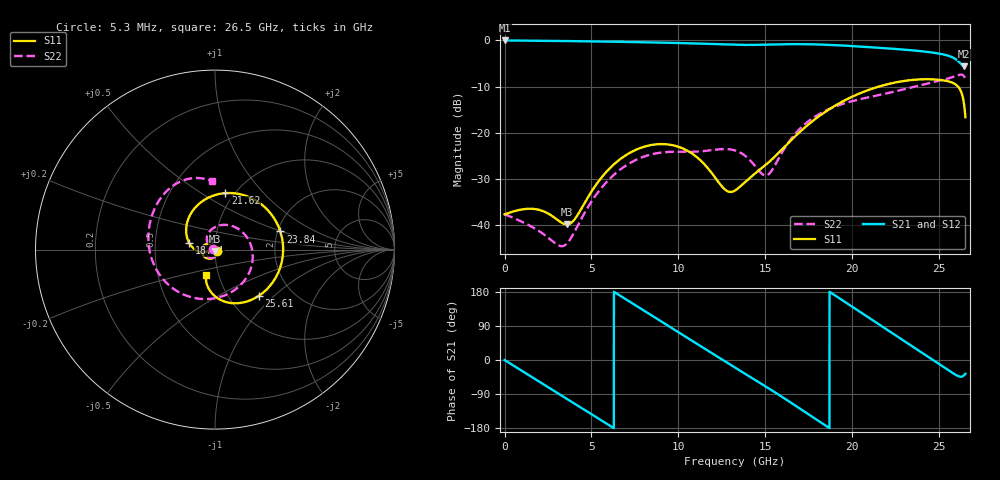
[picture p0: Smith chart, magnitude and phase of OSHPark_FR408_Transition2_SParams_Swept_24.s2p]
! TOUCHSTONE file generated by CST MICROWAVE STUDIO
! Date and time: Tue Jan  7 09:43:38 2020
! Project name: OSHPark_FR408_Transition2.cst
! Parameters = {GND_Plane_XMax=12; Cap_Disk_XOffset=0; Cap_Disk2_YCenter=-1.03; Cap_Disk_YCenter=1.03; Cap_Disk_XCenter=7.39; Cap_Disk_Radius=0.5; BottomSupport_Left_YMax=4.76; BottomSupport_Left_YMin=3.74; BottomSupport_Right_YMax=-3.74; BottomSupport_Right_YMin=-4.76; BottomSupport_XMax=11.64; Bot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
! Header version: 2015
! Port assignment regex: !\s*Touchstone port\s*([0-9]+)\s*=\s*CST MWS port\s*([0-9]+)\s*\(\"(.*)\"\)(\s*mode\s*([0-9]+))?.*
! Touchstone port assignment:
! Touchstone port 1 = CST MWS port 1 ("")
! Touchstone port 2 = CST MWS port 2 ("")
# GHz S MA R 50
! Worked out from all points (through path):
!   5000 points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, 5.3 MHz to 26.5 GHz, reference 50 ohm
!   highest |S21| = 0.00 dB at 10.6 MHz (marker M1); lowest = -5.6 dB at 26.42 GHz (marker M2)
!   group delay of S21, straight-line fit = 81.1 ps
!   lowest |S11| = -40.0 dB at 3.583 GHz (marker M3), VSWR 1.02, Z = 49.8 - j0.992 ohm
!   |S11| at or under -10 dB: start of sweep to 21.54 GHz; 26.08 GHz to end of sweep
!   |S22| runs from -44.7 to -7.4 dB; largest |S21 - S12| = 0
!   S11 on the Smith chart (normalised r, x): 5.3 MHz: 1.02, -0.01; 18.04 GHz: 0.75, +0.06; 21.62 GHz: 0.91, +0.64; 23.84 GHz: 2.07, +0.49; 25.61 GHz: 1.38, -0.81; 26.5 GHz: 0.87, -0.25
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0.0053  0.01294 -23.0  0.9999 -0.2  0.9999 -0.2  0.01302 155.6
0.0106  0.01297 -23.7  0.9999 -0.3  0.9999 -0.3  0.01301 156.0
2.0087  0.01446 -96.0  0.9922 -57.4  0.9922 -57.4  0.008475 127.7
3.5828  0.01005 -98.4  0.9849 -102.5  0.9849 -102.5  0.006237 39.6
4.4255  0.015 -75.3  0.9804 -126.6  0.9804 -126.6  0.01166 -16.5
5.5226  0.03155 -83.6  0.9739 -158.0  0.9739 -158.0  0.02442 -57.2
6.5508  0.04974 -105.8  0.967 172.5  0.967 172.5  0.03831 -86.7
8.8404  0.07486 -163.5  0.9491 106.8  0.9491 106.8  0.06004 -143.5
10.0329  0.06974 167.3  0.9378 72.4  0.9378 72.4  0.06198 -167.4
11.3367  0.04853 141.7  0.9223 34.8  0.9223 34.8  0.0627 172.2
13.2553  0.02352 172.6  0.8974 -19.8  0.8974 -19.8  0.06397 132.7
14.9354  0.04322 -166.5  0.8992 -67.3  0.8992 -67.3  0.03442 119.4
15.5926  0.05606 -165.1  0.9055 -86.5  0.9055 -86.5  0.04571 137.4
17.6702  0.1312 172.5  0.9081 -149.0  0.9081 -149.0  0.1412 75.5
18.0412  0.1484 165.5  0.9044 -160.3  0.9044 -160.3  0.1566 60.1
19.5888  0.2251 131.7  0.8776 152.6  0.8776 152.6  0.2087 -3.1
21.624  0.3198 79.7  0.8301 91.3  0.8301 91.3  0.2578 -74.2
22.0851  0.3372 67.0  0.8187 77.4  0.8187 77.4  0.2695 -88.5
23.8447  0.3776 15.6  0.7682 24.2  0.7682 24.2  0.3236 -141.7
25.6149  0.3552 -46.2  0.6725 -29.7  0.6725 -29.7  0.3922 157.3
26.4152  0.2074 -101.6  0.5246 -40.5  0.5246 -40.5  0.4102 103.5
26.5  0.1468 -110.0  0.5428 -36.5  0.5428 -36.5  0.3783 92.2
